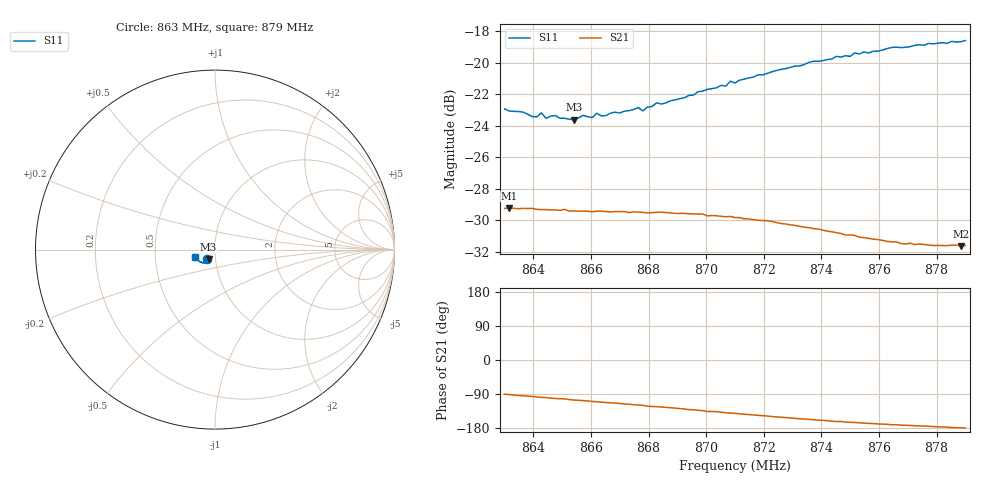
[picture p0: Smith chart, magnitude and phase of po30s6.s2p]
# HZ S RI R 50
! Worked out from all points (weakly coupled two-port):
!   101 points, 863 MHz to 879 MHz, reference 50 ohm
!   highest |S21| = -29.23 dB at 863.16 MHz (marker M1); lowest = -31.6 dB at 878.84 MHz (marker M2)
!   lowest |S11| = -23.6 dB at 865.4 MHz (marker M3), VSWR 1.14, Z = 46.2 - j5.12 ohm
!   |S11| at or under -10 dB: start of sweep to end of sweep
!   S12 and S22 are empty: the file has one direction only
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8.63e8  -0.0461 -0.0544  -0.000103 -0.0345  0 0  0 0
8.6316e8  -0.0443 -0.0545  -0.000739 -0.0346  0 0  0 0
8.6396e8  -0.0405 -0.0539  -0.0038 -0.0343  0 0  0 0
8.6428e8  -0.0404 -0.0563  -0.00517 -0.0338  0 0  0 0
8.6444e8  -0.04 -0.0532  -0.00546 -0.0338  0 0  0 0
8.6476e8  -0.0392 -0.0555  -0.00679 -0.0335  0 0  0 0
8.654e8  -0.0361 -0.0551  -0.00911 -0.0326  0 0  0 0
8.6572e8  -0.0361 -0.0577  -0.00999 -0.0323  0 0  0 0
8.6604e8  -0.035 -0.057  -0.0111 -0.0318  0 0  0 0
8.662e8  -0.0372 -0.0582  -0.0117 -0.0317  0 0  0 0
8.6652e8  -0.0348 -0.0583  -0.0128 -0.0312  0 0  0 0
8.6764e8  -0.0369 -0.0618  -0.0162 -0.0294  0 0  0 0
8.678e8  -0.0349 -0.061  -0.0165 -0.0291  0 0  0 0
8.6828e8  -0.037 -0.0647  -0.0183 -0.0281  0 0  0 0
8.6844e8  -0.037 -0.064  -0.0188 -0.0278  0 0  0 0
8.7068e8  -0.0444 -0.0715  -0.0246 -0.0211  0 0  0 0
8.7084e8  -0.0475 -0.0732  -0.0249 -0.0209  0 0  0 0
8.71e8  -0.0462 -0.0727  -0.025 -0.0204  0 0  0 0
8.7372e8  -0.0676 -0.075  -0.0275 -0.0113  0 0  0 0
8.7644e8  -0.0927 -0.0623  -0.0267 -0.00426  0 0  0 0
8.7884e8  -0.1088 -0.0412  -0.0262 -0.000582  0 0  0 0
8.79e8  -0.1107 -0.0394  -0.0263 -0.000154  0 0  0 0
